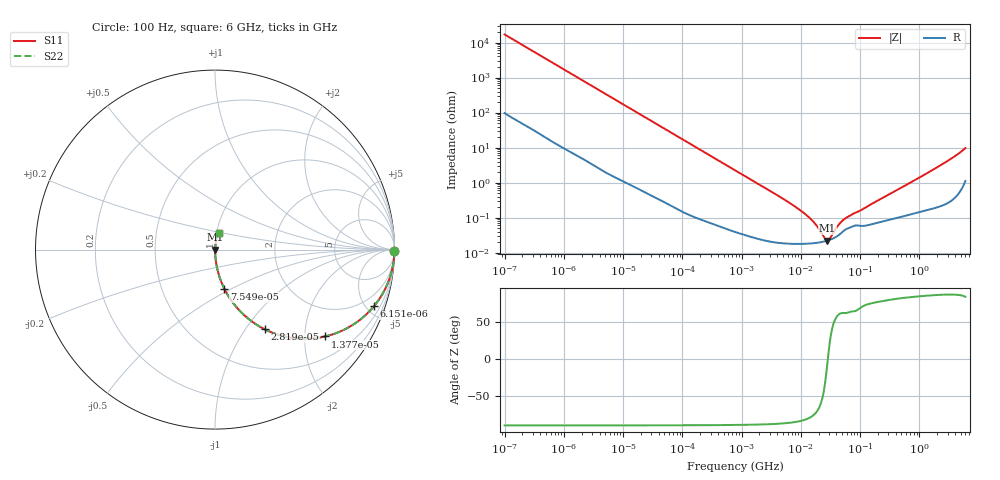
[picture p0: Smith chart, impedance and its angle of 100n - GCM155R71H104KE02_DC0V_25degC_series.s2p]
!Murata Part Number: GCM155R71H104KE02
!These Parameters are Measured in Series Mode Connection
!  o--ll--o
!Port1  Port2
!  o------o
!Operation Temp=25[degC], DC Bias Voltage=0[V]
!Freq. Start=100[Hz] Stop=6[GHz], 401[Steps]
!Data Generated on Feb 4, 2025
# Hz S RI R 50
!Freq.(Hz) S11(Real) S11(Imag) S21(Real) S21(Imag) S12(Real) S12(Imag) S22(Real) S22(Imag)
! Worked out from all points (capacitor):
!   401 points, 100 Hz to 6 GHz, reference 50 ohm
!   read as one part in series: C = 93.4 nF near 109.4 Hz
!   lowest |Z| = 22.1 mohm at 27.84 MHz (marker M1)
!   series resonance near 28.59 MHz, so ESL is about 330 pH
!   S11 on the Smith chart (normalised r, x): 100 Hz: open; 6.151 kHz: 1.03, -5.61; 13.77 kHz: 1.02, -2.51; 28.19 kHz: 1.01, -1.23; 75.49 kHz: 1.00, -0.46; 6 GHz: 1.02, +0.19
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100  0.9999 -0.00587  6.78e-05 0.00587  6.78e-05 0.00587  0.9999 -0.00587
626.9898  0.9985 -0.0365  0.00154 0.0365  0.00154 0.0365  0.9985 -0.0365
2008.354  0.9859 -0.115  0.0141 0.115  0.0141 0.115  0.9859 -0.115
6151.412  0.886 -0.315  0.114 0.315  0.114 0.315  0.886 -0.315
9204.139  0.7778 -0.4127  0.2222 0.4127  0.2222 0.4127  0.7778 -0.4127
13771.83  0.6119 -0.484  0.3881 0.484  0.3881 0.484  0.6119 -0.484
28191.46  0.2767 -0.4437  0.7233 0.4437  0.7233 0.4437  0.2767 -0.4437
40334.87  0.1588 -0.3617  0.8412 0.3617  0.8412 0.3617  0.1588 -0.3617
75494.61  0.0523 -0.2187  0.9477 0.2187  0.9477 0.2187  0.0523 -0.2187
202168.9  0.00833 -0.0859  0.9917 0.0859  0.9917 0.0859  0.00833 -0.0859
774596.7  0.000909 -0.0228  0.9991 0.0228  0.9991 0.0228  0.000909 -0.0228
6644369  0.000185 -0.00255  0.9998 0.00255  0.9998 0.00255  0.000185 -0.00255
1.555665e7  0.000185 -0.000809  0.9998 0.000809  0.9998 0.000809  0.000185 -0.000809
1.946e7  0.000193 -0.000493  0.9998 0.000493  0.9998 0.000493  0.000193 -0.000493
2.545746e7  0.00021 -0.000145  0.9998 0.000145  0.9998 0.000145  0.00021 -0.000145
2.784235e7  0.000219 -3.31e-05  0.9998 3.31e-05  0.9998 3.31e-05  0.000219 -3.31e-05
3.045065e7  0.00023 7.9e-05  0.9998 -7.9e-05  0.9998 -7.9e-05  0.00023 7.9e-05
4.35672e7  0.000316 0.000538  0.9997 -0.000538  0.9997 -0.000538  0.000316 0.000538
5.449875e7  0.000436 0.000804  0.9996 -0.000804  0.9996 -0.000804  0.000436 0.000804
3.124326e8  0.000889 0.00457  0.9991 -0.00457  0.9991 -0.00457  0.000889 0.00457
2.142435e9  0.00288 0.0291  0.9971 -0.0291  0.9971 -0.0291  0.00288 0.0291
6e9  0.0199 0.0935  0.9801 -0.0935  0.9801 -0.0935  0.0199 0.0935
